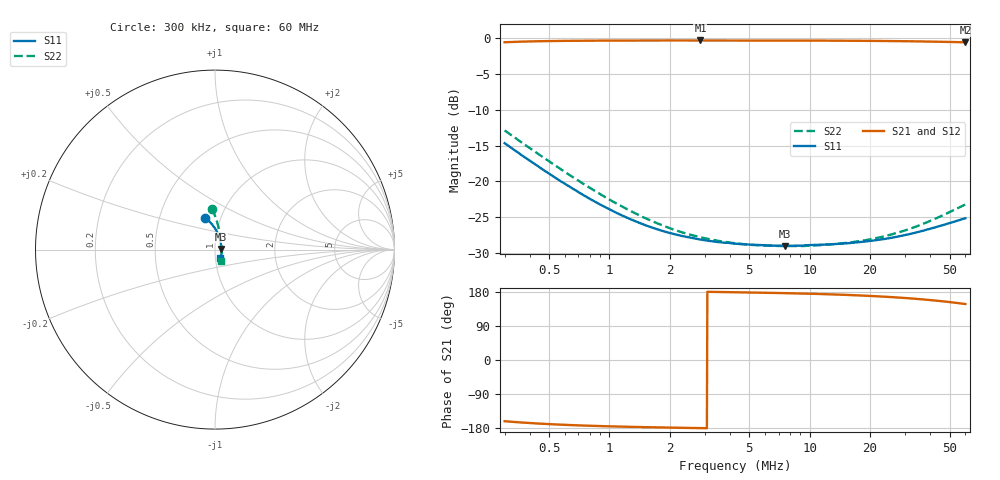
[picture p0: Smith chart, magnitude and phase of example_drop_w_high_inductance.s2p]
! TOUCHSTONE file generated by CST DESIGN STUDIO
! Date and time: Tue May 12 12:04:41 2026
! Project name: C:\sim_local\10base-t1m\passive_node_simulations_nostub.cst
! Tree item: Tasks\SPara1\S-Parameters
! Header version: 2024
! Port assignment regex: !\s*Touchstone port\s*([0-9]+)\s*=\s*(CST MWS port|CST DES external port|CST DES block port)\s*(.+)\s* \(\"(.*)\"\)(\s*mode\s*([0-9]+))?.*
! Touchstone port assignment:
! Touchstone port 1 = CST DES external port 1 ("PHY")
! Touchstone port 2 = CST DES external port 2 ("MDI")
# MHz S MA R 100
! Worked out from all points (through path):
!   1001 points, 300 kHz to 60 MHz, reference 100 ohm
!   highest |S21| = -0.31 dB at 2.851 MHz (marker M1); lowest = -0.6 dB at 60 MHz (marker M2)
!   lowest |S11| = -29.0 dB at 7.519 MHz (marker M3), VSWR 1.07, Z = 107 + j0.669 ohm
!   |S11| at or under -10 dB: start of sweep to end of sweep
!   |S22| runs from -29.0 to -12.9 dB; largest |S21 - S12| = 0.00039
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0.3  0.1851 107.0  0.9379 -161.5  0.938 -161.5  0.2274 94.1
0.3708194  0.1504 99.0  0.9478 -165.2  0.9478 -165.2  0.1844 89.5
0.4632396  0.1217 91.2  0.9544 -168.3  0.9544 -168.3  0.1486 84.7
0.578694  0.09937 83.5  0.9585 -170.8  0.9585 -170.8  0.1205 79.8
0.7267638  0.08176 75.7  0.9612 -172.8  0.9611 -172.8  0.098 74.5
0.9078969  0.0686 68.0  0.9629 -174.5  0.9628 -174.4  0.08098 68.7
1.152346  0.05807 59.5  0.964 -175.9  0.9639 -175.9  0.06702 62.1
1.416847  0.05132 52.2  0.9646 -176.9  0.9646 -176.9  0.05784 55.8
1.760619  0.04609 44.5  0.9651 -177.9  0.965 -177.9  0.05057 48.9
2.222852  0.04209 36.5  0.9653 -178.8  0.9652 -178.8  0.04489 41.2
2.851406  0.03934 28.6  0.9653 -179.7  0.9652 -179.7  0.04078 33.2
4.242641  0.03681 17.7  0.9652 178.9  0.9651 178.9  0.03705 21.2
5.442327  0.03607 11.7  0.965 177.9  0.9648 177.9  0.03588 14.5
7.518782  0.03552 5.0  0.9645 176.4  0.9642 176.4  0.03537 6.7
10.27799  0.036 -2.4  0.9633 174.8  0.963 174.8  0.03569 -1.7
13.11462  0.03649 -7.7  0.9623 173.1  0.9619 173.1  0.03647 -7.7
16.91239  0.03745 -13.6  0.9606 170.9  0.9602 170.9  0.03791 -14.3
24.89891  0.04017 -24.4  0.9565 166.4  0.9562 166.4  0.04219 -25.9
31.60288  0.04294 -32.7  0.9529 162.7  0.9526 162.7  0.04666 -34.4
40.32497  0.04685 -42.6  0.9479 158.1  0.9476 158.1  0.05329 -44.1
49.05826  0.05079 -51.7  0.943 153.4  0.9428 153.4  0.06031 -52.6
60  0.05537 -61.9  0.9371 147.7  0.9368 147.7  0.06916 -61.7
